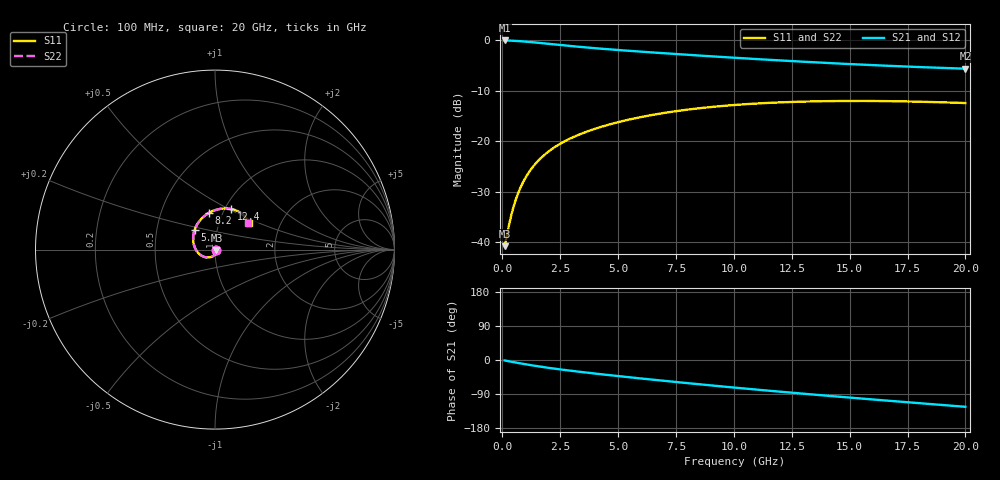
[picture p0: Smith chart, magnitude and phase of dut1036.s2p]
! Touchstone file exported from HFSS 2024.1.0
!  File:  C:/UserFiles/LocalFiles/RDL_TSV_Batchsim/temp_RDL_TSV_1036_1780084697.aedt
!  Generated:  04:10:43 AM May 30, 2026
!  Design:  RDL_TSV
!  Project:  temp_RDL_TSV_1036_1780084697
!  Setup:  Setup1
!  Solution:  Sweep
! Variables:
!  dtsv = 11.16um
!  hbump = 3um
!  htsv = 69.04um
!  ldown = 237.93um
!  lrdl = 218.17um
!  p = 40
!  p1 = 41.57um
!  rhole = 10um
!  subl = 1586.47um
!  t = 450um
!  tdown = 3.36um
!  trdl = 3.02um
!  viad = 10um
!  wdown = 22.21um
!  wrdl = 27.32um
!  xbump = 18um
# GHz S MA R 50.000000
! Terminal data exported
! Port[1] = TM1_1_T1
! Port[2] = TM1_4_T1
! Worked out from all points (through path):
!   200 points, 100 MHz to 20 GHz, reference 50 ohm
!   highest |S21| = -0.07 dB at 100 MHz (marker M1); lowest = -5.7 dB at 20 GHz (marker M2)
!   group delay of S21, straight-line fit = 16.2 ps
!   lowest |S11| = -40.8 dB at 100 MHz (marker M3), VSWR 1.02, Z = 50.8 - j0.443 ohm
!   |S11| at or under -10 dB: start of sweep to end of sweep
!   |S22| runs from -40.8 to -12.1 dB; largest |S21 - S12| = 1.8e-13
!   S11 on the Smith chart (normalised r, x): 100 MHz: 1.02, -0.01; 5.2 GHz: 0.78, +0.17; 8.2 GHz: 0.86, +0.37; 12.4 GHz: 1.07, +0.51; 20 GHz: 1.38, +0.43
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0.1  0.009092 -28.6  0.9914 -1.2  0.9914 -1.2  0.009092 -28.7
! Gamma 0 0 0 0
! Port Impedance 50 0 50 0
0.3  0.01508 -64.6  0.9885 -3.6  0.9885 -3.6  0.01508 -64.5
0.4  0.01891 -75.4  0.9863 -4.7  0.9863 -4.7  0.01891 -75.4
0.5  0.02293 -84.1  0.9837 -5.8  0.9837 -5.8  0.02293 -84.1
0.6  0.02702 -91.4  0.9808 -7.0  0.9808 -7.0  0.02702 -91.4
0.7  0.03112 -97.8  0.9776 -8.1  0.9776 -8.1  0.03113 -97.8
0.9  0.03924 -108.8  0.9703 -10.2  0.9703 -10.2  0.03924 -108.8
1.2  0.05096 -122.8  0.9575 -13.3  0.9575 -13.3  0.05096 -122.7
1.6  0.06553 -138.6  0.9385 -17.1  0.9385 -17.1  0.06552 -138.6
2.1  0.08201 -155.7  0.9135 -21.6  0.9135 -21.6  0.08197 -155.6
2.7  0.09961 -173.1  0.8846 -26.4  0.8846 -26.4  0.09953 -173.0
3.5  0.1203 167.4  0.8502 -32.3  0.8502 -32.3  0.1202 167.5
4.3  0.1389 151.3  0.8205 -37.8  0.8205 -37.8  0.1387 151.4
5.2  0.1578 136.1  0.7911 -43.7  0.7911 -43.7  0.1574 136.2
6.8  0.1868 114.5  0.7455 -53.8  0.7455 -53.8  0.1863 114.6
8.2  0.2074 99.6  0.71 -62.3  0.71 -62.3  0.2068 99.6
10.1  0.2283 83.3  0.6667 -73.2  0.6667 -73.2  0.2276 83.3
12.4  0.2435 68.0  0.6211 -85.8  0.6211 -85.8  0.2427 68.0
13.4  0.2471 62.5  0.6037 -91.0  0.6037 -91.0  0.2462 62.4
15  0.2495 54.8  0.5786 -99.2  0.5786 -99.2  0.2486 54.7
16.7  0.2483 47.9  0.5557 -107.6  0.5557 -107.6  0.2474 47.9
20  0.2379 38.2  0.5207 -123.5  0.5207 -123.5  0.2371 38.1
